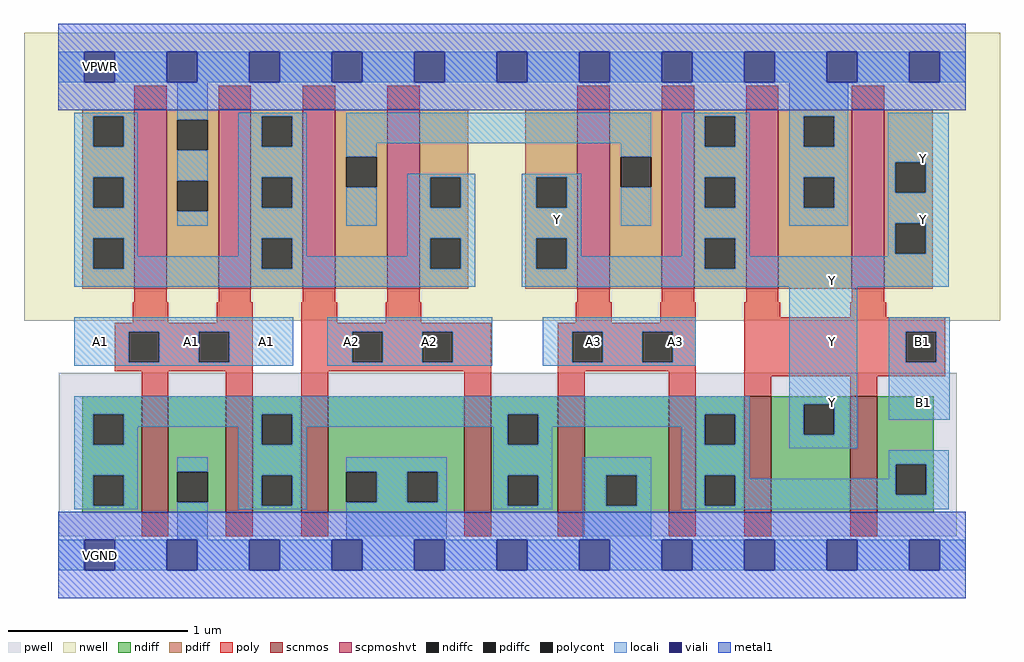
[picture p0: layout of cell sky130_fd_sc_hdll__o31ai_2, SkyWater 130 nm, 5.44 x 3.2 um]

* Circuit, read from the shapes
.subckt sky130_fd_sc_hdll__o31ai_2 A1 A2 A3 B1 VGND VNB VPB VPWR Y
XM1 VGND A1 n1 VNB sky130_fd_pr__nfet_01v8 w=0.65 l=0.15 m=2
XM2 VGND A2 n1 VNB sky130_fd_pr__nfet_01v8 w=0.65 l=0.15 m=2
XM3 VGND A3 n1 VNB sky130_fd_pr__nfet_01v8 w=0.65 l=0.15 m=2
XM4 Y B1 n1 VNB sky130_fd_pr__nfet_01v8 w=0.65 l=0.15 m=2
XM5 VPWR A1 n2 VPB sky130_fd_pr__pfet_01v8_hvt w=1 l=0.18 m=2
XM6 n3 A2 n2 VPB sky130_fd_pr__pfet_01v8_hvt w=1 l=0.18 m=2
XM7 n3 A3 Y VPB sky130_fd_pr__pfet_01v8_hvt w=1 l=0.18 m=2
XM8 VPWR B1 Y VPB sky130_fd_pr__pfet_01v8_hvt w=1 l=0.18 m=2
.ends

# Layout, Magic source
magic
tech sky130A
magscale 1 2
<< nwell >>
rect -38 261 1050 582
<< pwell >>
rect 1 21 1002 203
rect 30 -17 64 21
<< scnmos >>
rect 93 47 123 177
rect 187 47 217 177
rect 271 47 301 177
rect 453 47 483 177
rect 557 47 587 177
rect 681 47 711 177
rect 765 47 795 177
rect 883 47 913 177
<< scpmoshvt >>
rect 85 297 121 497
rect 179 297 215 497
rect 273 297 309 497
rect 367 297 403 497
rect 579 297 615 497
rect 673 297 709 497
rect 767 297 803 497
rect 885 297 921 497
<< ndiff >>
rect 27 157 93 177
rect 27 123 39 157
rect 73 123 93 157
rect 27 89 93 123
rect 27 55 39 89
rect 73 55 93 89
rect 27 47 93 55
rect 123 93 187 177
rect 123 59 133 93
rect 167 59 187 93
rect 123 47 187 59
rect 217 157 271 177
rect 217 123 227 157
rect 261 123 271 157
rect 217 89 271 123
rect 217 55 227 89
rect 261 55 271 89
rect 217 47 271 55
rect 301 93 453 177
rect 301 59 321 93
rect 355 59 389 93
rect 423 59 453 93
rect 301 47 453 59
rect 483 157 557 177
rect 483 123 501 157
rect 535 123 557 157
rect 483 89 557 123
rect 483 55 501 89
rect 535 55 557 89
rect 483 47 557 55
rect 587 89 681 177
rect 587 55 611 89
rect 645 55 681 89
rect 587 47 681 55
rect 711 157 765 177
rect 711 123 721 157
rect 755 123 765 157
rect 711 89 765 123
rect 711 55 721 89
rect 755 55 765 89
rect 711 47 765 55
rect 795 168 883 177
rect 795 134 831 168
rect 865 134 883 168
rect 795 47 883 134
rect 913 101 976 177
rect 913 67 934 101
rect 968 67 976 101
rect 913 47 976 67
<< pdiff >>
rect 27 489 85 497
rect 27 455 39 489
rect 73 455 85 489
rect 27 421 85 455
rect 27 387 39 421
rect 73 387 85 421
rect 27 353 85 387
rect 27 319 39 353
rect 73 319 85 353
rect 27 297 85 319
rect 121 485 179 497
rect 121 451 133 485
rect 167 451 179 485
rect 121 417 179 451
rect 121 383 133 417
rect 167 383 179 417
rect 121 297 179 383
rect 215 489 273 497
rect 215 455 227 489
rect 261 455 273 489
rect 215 421 273 455
rect 215 387 227 421
rect 261 387 273 421
rect 215 353 273 387
rect 215 319 227 353
rect 261 319 273 353
rect 215 297 273 319
rect 309 444 367 497
rect 309 410 321 444
rect 355 410 367 444
rect 309 297 367 410
rect 403 421 457 497
rect 403 387 415 421
rect 449 387 457 421
rect 403 353 457 387
rect 403 319 415 353
rect 449 319 457 353
rect 403 297 457 319
rect 521 421 579 497
rect 521 387 533 421
rect 567 387 579 421
rect 521 353 579 387
rect 521 319 533 353
rect 567 319 579 353
rect 521 297 579 319
rect 615 444 673 497
rect 615 410 627 444
rect 661 410 673 444
rect 615 297 673 410
rect 709 489 767 497
rect 709 455 721 489
rect 755 455 767 489
rect 709 421 767 455
rect 709 387 721 421
rect 755 387 767 421
rect 709 353 767 387
rect 709 319 721 353
rect 755 319 767 353
rect 709 297 767 319
rect 803 489 885 497
rect 803 455 831 489
rect 865 455 885 489
rect 803 421 885 455
rect 803 387 831 421
rect 865 387 885 421
rect 803 297 885 387
rect 921 438 975 497
rect 921 404 933 438
rect 967 404 975 438
rect 921 370 975 404
rect 921 336 933 370
rect 967 336 975 370
rect 921 297 975 336
<< ndiffc >>
rect 39 123 73 157
rect 39 55 73 89
rect 133 59 167 93
rect 227 123 261 157
rect 227 55 261 89
rect 321 59 355 93
rect 389 59 423 93
rect 501 123 535 157
rect 501 55 535 89
rect 611 55 645 89
rect 721 123 755 157
rect 721 55 755 89
rect 831 134 865 168
rect 934 67 968 101
<< pdiffc >>
rect 39 455 73 489
rect 39 387 73 421
rect 39 319 73 353
rect 133 451 167 485
rect 133 383 167 417
rect 227 455 261 489
rect 227 387 261 421
rect 227 319 261 353
rect 321 410 355 444
rect 415 387 449 421
rect 415 319 449 353
rect 533 387 567 421
rect 533 319 567 353
rect 627 410 661 444
rect 721 455 755 489
rect 721 387 755 421
rect 721 319 755 353
rect 831 455 865 489
rect 831 387 865 421
rect 933 404 967 438
rect 933 336 967 370
<< poly >>
rect 85 497 121 523
rect 179 497 215 523
rect 273 497 309 523
rect 367 497 403 523
rect 579 497 615 523
rect 673 497 709 523
rect 767 497 803 523
rect 885 497 921 523
rect 85 282 121 297
rect 179 282 215 297
rect 273 282 309 297
rect 367 282 403 297
rect 579 282 615 297
rect 673 282 709 297
rect 767 282 803 297
rect 885 282 921 297
rect 83 259 123 282
rect 177 259 217 282
rect 63 249 217 259
rect 63 215 79 249
rect 113 215 157 249
rect 191 215 217 249
rect 63 205 217 215
rect 93 177 123 205
rect 187 177 217 205
rect 271 259 311 282
rect 365 259 405 282
rect 577 259 617 282
rect 671 259 711 282
rect 271 249 483 259
rect 271 215 328 249
rect 362 215 406 249
rect 440 215 483 249
rect 271 205 483 215
rect 271 177 301 205
rect 453 177 483 205
rect 557 249 711 259
rect 557 215 573 249
rect 607 215 651 249
rect 685 215 711 249
rect 557 205 711 215
rect 557 177 587 205
rect 681 177 711 205
rect 765 265 805 282
rect 883 265 923 282
rect 765 249 989 265
rect 765 215 945 249
rect 979 215 989 249
rect 765 199 989 215
rect 765 177 795 199
rect 883 177 913 199
rect 93 21 123 47
rect 187 21 217 47
rect 271 21 301 47
rect 453 21 483 47
rect 557 21 587 47
rect 681 21 711 47
rect 765 21 795 47
rect 883 21 913 47
<< polycont >>
rect 79 215 113 249
rect 157 215 191 249
rect 328 215 362 249
rect 406 215 440 249
rect 573 215 607 249
rect 651 215 685 249
rect 945 215 979 249
<< locali >>
rect 0 527 29 561
rect 63 527 121 561
rect 155 527 213 561
rect 247 527 305 561
rect 339 527 397 561
rect 431 527 489 561
rect 523 527 581 561
rect 615 527 673 561
rect 707 527 765 561
rect 799 527 857 561
rect 891 527 949 561
rect 983 527 1012 561
rect 18 489 89 493
rect 18 455 39 489
rect 73 455 89 489
rect 18 421 89 455
rect 18 387 39 421
rect 73 387 89 421
rect 18 353 89 387
rect 133 485 167 527
rect 133 417 167 451
rect 133 367 167 383
rect 201 489 277 493
rect 201 455 227 489
rect 261 455 277 489
rect 201 421 277 455
rect 201 387 227 421
rect 261 387 277 421
rect 18 319 39 353
rect 73 333 89 353
rect 201 353 277 387
rect 321 459 661 493
rect 321 444 355 459
rect 627 444 661 459
rect 321 367 355 410
rect 389 421 465 425
rect 389 387 415 421
rect 449 387 465 421
rect 201 333 227 353
rect 73 319 227 333
rect 261 333 277 353
rect 389 353 465 387
rect 389 333 415 353
rect 261 319 415 333
rect 449 319 465 353
rect 18 299 465 319
rect 517 421 583 425
rect 517 387 533 421
rect 567 387 583 421
rect 517 353 583 387
rect 627 367 661 410
rect 695 489 771 493
rect 695 455 721 489
rect 755 455 771 489
rect 695 421 771 455
rect 695 387 721 421
rect 755 387 771 421
rect 517 319 533 353
rect 567 333 583 353
rect 695 353 771 387
rect 815 489 881 527
rect 815 455 831 489
rect 865 455 881 489
rect 815 421 881 455
rect 815 387 831 421
rect 865 387 881 421
rect 815 367 881 387
rect 925 438 993 493
rect 925 404 933 438
rect 967 404 993 438
rect 925 370 993 404
rect 695 333 721 353
rect 567 319 721 333
rect 755 333 771 353
rect 925 336 933 370
rect 967 336 993 370
rect 925 333 993 336
rect 755 319 993 333
rect 517 299 993 319
rect 18 249 262 265
rect 18 215 79 249
rect 113 215 157 249
rect 191 215 262 249
rect 18 211 262 215
rect 300 249 484 265
rect 300 215 328 249
rect 362 215 406 249
rect 440 215 484 249
rect 300 211 484 215
rect 540 249 711 265
rect 540 215 573 249
rect 607 215 651 249
rect 685 215 711 249
rect 540 211 711 215
rect 18 157 771 177
rect 18 123 39 157
rect 73 143 227 157
rect 73 123 89 143
rect 18 89 89 123
rect 201 123 227 143
rect 261 143 501 157
rect 261 123 277 143
rect 18 55 39 89
rect 73 55 89 89
rect 18 51 89 55
rect 133 93 167 109
rect 133 17 167 59
rect 201 89 277 123
rect 485 123 501 143
rect 535 143 721 157
rect 535 123 551 143
rect 201 55 227 89
rect 261 55 277 89
rect 201 51 277 55
rect 321 93 433 109
rect 355 59 389 93
rect 423 59 433 93
rect 321 17 433 59
rect 485 89 551 123
rect 695 123 721 143
rect 755 123 771 157
rect 485 55 501 89
rect 535 55 551 89
rect 485 51 551 55
rect 585 89 661 109
rect 585 55 611 89
rect 645 55 661 89
rect 585 17 661 55
rect 695 89 771 123
rect 815 168 891 299
rect 815 134 831 168
rect 865 134 891 168
rect 926 249 994 265
rect 926 215 945 249
rect 979 215 994 249
rect 926 151 994 215
rect 815 119 891 134
rect 695 55 721 89
rect 755 85 771 89
rect 926 101 993 117
rect 926 85 934 101
rect 755 67 934 85
rect 968 67 993 101
rect 755 55 993 67
rect 695 51 993 55
rect 0 -17 29 17
rect 63 -17 121 17
rect 155 -17 213 17
rect 247 -17 305 17
rect 339 -17 397 17
rect 431 -17 489 17
rect 523 -17 581 17
rect 615 -17 673 17
rect 707 -17 765 17
rect 799 -17 857 17
rect 891 -17 949 17
rect 983 -17 1012 17
<< viali >>
rect 29 527 63 561
rect 121 527 155 561
rect 213 527 247 561
rect 305 527 339 561
rect 397 527 431 561
rect 489 527 523 561
rect 581 527 615 561
rect 673 527 707 561
rect 765 527 799 561
rect 857 527 891 561
rect 949 527 983 561
rect 29 -17 63 17
rect 121 -17 155 17
rect 213 -17 247 17
rect 305 -17 339 17
rect 397 -17 431 17
rect 489 -17 523 17
rect 581 -17 615 17
rect 673 -17 707 17
rect 765 -17 799 17
rect 857 -17 891 17
rect 949 -17 983 17
<< metal1 >>
rect 0 561 1012 592
rect 0 527 29 561
rect 63 527 121 561
rect 155 527 213 561
rect 247 527 305 561
rect 339 527 397 561
rect 431 527 489 561
rect 523 527 581 561
rect 615 527 673 561
rect 707 527 765 561
rect 799 527 857 561
rect 891 527 949 561
rect 983 527 1012 561
rect 0 496 1012 527
rect 0 17 1012 48
rect 0 -17 29 17
rect 63 -17 121 17
rect 155 -17 213 17
rect 247 -17 305 17
rect 339 -17 397 17
rect 431 -17 489 17
rect 523 -17 581 17
rect 615 -17 673 17
rect 707 -17 765 17
rect 799 -17 857 17
rect 891 -17 949 17
rect 983 -17 1012 17
rect 0 -48 1012 -17
<< labels >>
flabel locali s 132 221 166 255 0 FreeSans 200 0 0 0 A1
port 1 nsew signal input
flabel locali s 30 221 64 255 0 FreeSans 200 0 0 0 A1
port 1 nsew signal input
flabel locali s 948 425 982 459 0 FreeSans 200 0 0 0 Y
port 9 nsew signal output
flabel locali s 846 289 880 323 0 FreeSans 200 0 0 0 Y
port 9 nsew signal output
flabel locali s 846 221 880 255 0 FreeSans 200 0 0 0 Y
port 9 nsew signal output
flabel locali s 540 357 574 391 0 FreeSans 200 0 0 0 Y
port 9 nsew signal output
flabel locali s 948 357 982 391 0 FreeSans 200 0 0 0 Y
port 9 nsew signal output
flabel locali s 846 153 880 187 0 FreeSans 200 0 0 0 Y
port 9 nsew signal output
flabel locali s 948 153 982 187 0 FreeSans 200 0 0 0 B1
port 4 nsew signal input
flabel locali s 947 221 981 255 0 FreeSans 200 0 0 0 B1
port 4 nsew signal input
flabel locali s 671 221 705 255 0 FreeSans 200 0 0 0 A3
port 3 nsew signal input
flabel locali s 580 221 614 255 0 FreeSans 200 0 0 0 A3
port 3 nsew signal input
flabel locali s 397 221 431 255 0 FreeSans 200 0 0 0 A2
port 2 nsew signal input
flabel locali s 310 221 344 255 0 FreeSans 200 0 0 0 A2
port 2 nsew signal input
flabel locali s 215 221 249 255 0 FreeSans 200 0 0 0 A1
port 1 nsew signal input
flabel metal1 s 30 -17 64 17 0 FreeSans 200 0 0 0 VGND
port 5 nsew ground bidirectional
flabel metal1 s 30 527 64 561 0 FreeSans 200 0 0 0 VPWR
port 8 nsew power bidirectional
flabel nwell s 30 527 64 561 0 FreeSans 200 0 0 0 VPB
port 7 nsew power bidirectional
flabel pwell s 30 -17 64 17 0 FreeSans 200 0 0 0 VNB
port 6 nsew ground bidirectional
rlabel comment s 0 0 0 0 4 o31ai_2
<< properties >>
string LEFsite unithd
string LEFclass CORE
string FIXED_BBOX 0 0 1012 544
string GDS_FILE $PDKPATH/libs.ref/sky130_fd_sc_hdll/gds/sky130_fd_sc_hdll.gds
string LEFsymmetry X Y R90
string GDS_END 257458
string GDS_START 248130
string LEFproperties maskLayoutSubType "abstract" prCellType "standard" originalViewName "layout"
<< end >>
